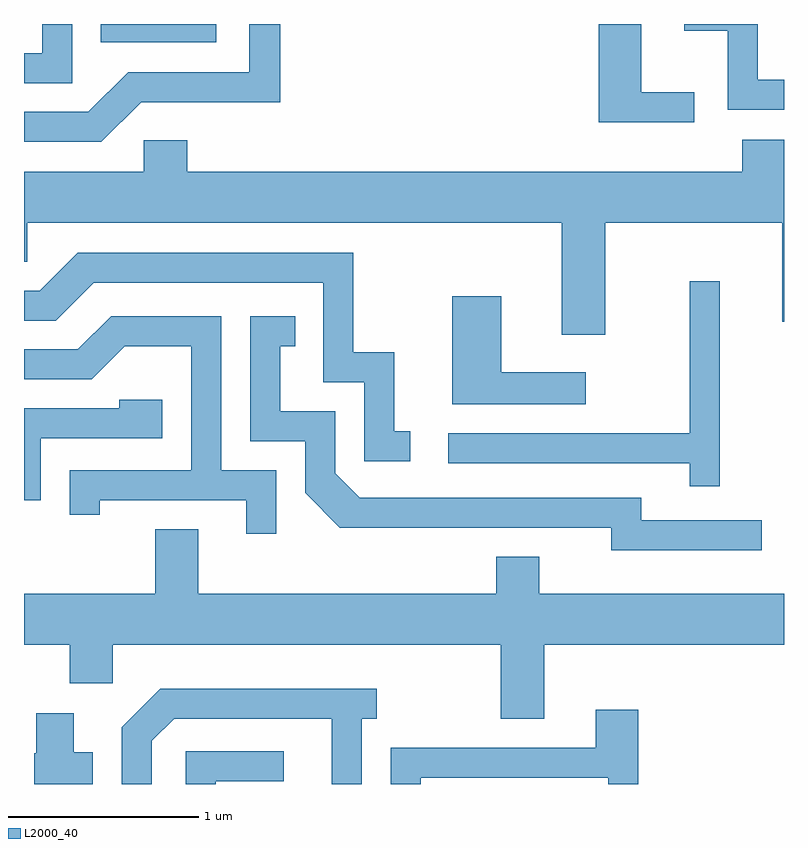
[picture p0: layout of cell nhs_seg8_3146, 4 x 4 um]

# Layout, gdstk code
import gdstk
lib = gdstk.Library(unit=1e-6, precision=1e-09)
def R(c, l, rs):  # rectangles x0, y0, x1, y1
    for r in rs: c.add(gdstk.rectangle(r[:2], r[2:], *l))
def P(c, l, *ps):  # polygons
    for p in ps: c.add(gdstk.Polygon(p, *l))
L2000_40 = (2000, 40)

nhs_seg8_3146 = lib.new_cell('nhs_seg8_3146')
R(nhs_seg8_3146, L2000_40, [(280.016,1846.246,280.624,1846.342)])
P(nhs_seg8_3146, L2000_40, [(280.227,1845.931),(280.959,1845.931),(280.959,1846.342),(280.796,1846.342),(280.796,1846.089),(280.159,1846.089),(279.949,1845.879),(279.611,1845.879),(279.611,1845.721),(280.017,1845.721)],
  [(279.864,1846.342),(279.706,1846.342),(279.706,1846.189),(279.611,1846.189),(279.611,1846.031),(279.864,1846.031)],
  [(283.138,1845.984),(282.859,1845.984),(282.859,1846.342),(282.636,1846.342),(282.636,1845.826),(283.138,1845.826)],
  [(283.611,1846.049),(283.474,1846.049),(283.474,1846.342),(283.086,1846.342),(283.086,1846.306),(283.316,1846.306),(283.316,1845.891),(283.611,1845.891)],
  [(282.669,1845.296),(283.601,1845.296),(283.601,1844.776),(283.611,1844.776),(283.611,1845.734),(283.391,1845.734),(283.391,1845.564),(280.469,1845.564),(280.469,1845.729),(280.241,1845.729),(280.241,1845.564),(279.611,1845.564),(279.611,1845.091),(279.629,1845.091),(279.629,1845.296),(282.441,1845.296),(282.441,1844.706),(282.669,1844.706)],
  [(281.643,1844.199),(281.559,1844.199),(281.559,1844.614),(281.344,1844.614),(281.344,1845.139),(279.894,1845.139),(279.694,1844.939),(279.611,1844.939),(279.611,1844.781),(279.777,1844.781),(279.977,1844.981),(281.186,1844.981),(281.186,1844.456),(281.401,1844.456),(281.401,1844.041),(281.643,1844.041)],
  [(283.274,1844.988),(283.116,1844.988),(283.116,1844.189),(281.843,1844.189),(281.843,1844.031),(283.116,1844.031),(283.116,1843.908),(283.274,1843.908)],
  [(282.568,1844.509),(282.124,1844.509),(282.124,1844.909),(281.866,1844.909),(281.866,1844.341),(282.568,1844.341)],
  [(280.939,1843.994),(280.649,1843.994),(280.649,1844.804),(280.069,1844.804),(279.894,1844.629),(279.611,1844.629),(279.611,1844.471),(279.967,1844.471),(280.142,1844.646),(280.491,1844.646),(280.491,1843.994),(279.851,1843.994),(279.851,1843.758),(280.009,1843.758),(280.009,1843.836),(280.781,1843.836),(280.781,1843.658),(280.939,1843.658)],
  [(283.493,1843.729),(282.859,1843.729),(282.859,1843.849),(281.377,1843.849),(281.249,1843.977),(281.249,1844.304),(280.959,1844.304),(280.959,1844.646),(281.038,1844.646),(281.038,1844.804),(280.801,1844.804),(280.801,1844.146),(281.091,1844.146),(281.091,1843.874),(281.274,1843.691),(282.701,1843.691),(282.701,1843.571),(283.493,1843.571)],
  [(279.699,1844.161),(280.339,1844.161),(280.339,1844.364),(280.111,1844.364),(280.111,1844.319),(279.611,1844.319),(279.611,1843.836),(279.699,1843.836)],
  [(282.349,1843.076),(283.611,1843.076),(283.611,1843.344),(282.324,1843.344),(282.324,1843.539),(282.096,1843.539),(282.096,1843.344),(280.529,1843.344),(280.529,1843.684),(280.301,1843.684),(280.301,1843.344),(279.611,1843.344),(279.611,1843.076),(279.851,1843.076),(279.851,1842.871),(280.079,1842.871),(280.079,1843.076),(282.121,1843.076),(282.121,1842.686),(282.349,1842.686)],
  [(280.284,1842.569),(280.402,1842.686),(281.231,1842.686),(281.231,1842.342),(281.389,1842.342),(281.389,1842.686),(281.468,1842.686),(281.468,1842.844),(280.329,1842.844),(280.126,1842.642),(280.126,1842.342),(280.284,1842.342)],
  [(281.699,1842.376),(282.686,1842.376),(282.686,1842.342),(282.844,1842.342),(282.844,1842.734),(282.621,1842.734),(282.621,1842.534),(281.541,1842.534),(281.541,1842.342),(281.699,1842.342)],
  [(279.974,1842.509),(279.874,1842.509),(279.874,1842.714),(279.676,1842.714),(279.676,1842.505),(279.666,1842.505),(279.666,1842.342),(279.974,1842.342)],
  [(280.619,1842.356),(280.978,1842.356),(280.978,1842.514),(280.461,1842.514),(280.461,1842.342),(280.619,1842.342)])

lib.write_gds('nhs_seg8_3146.gds')
